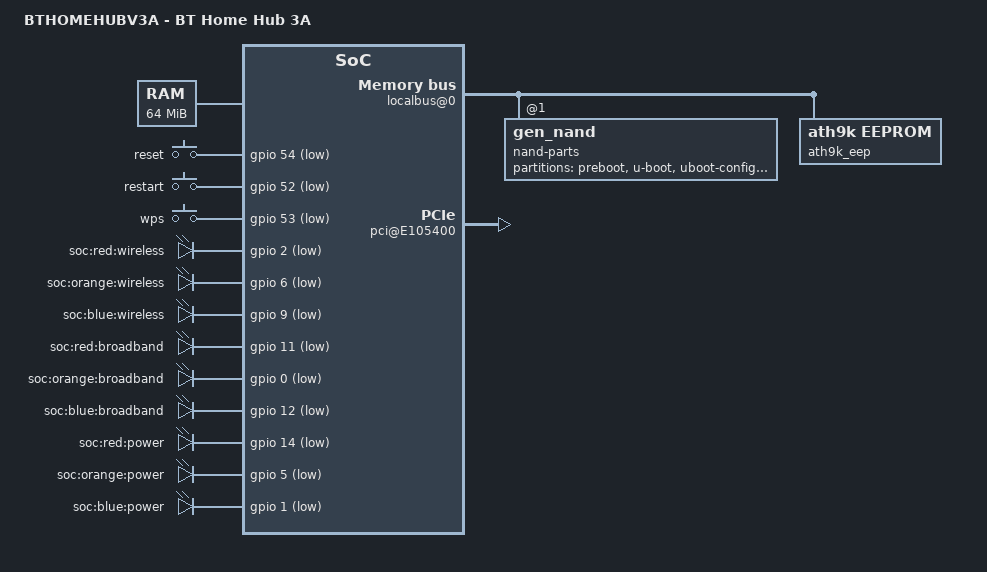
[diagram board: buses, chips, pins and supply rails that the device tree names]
/dts-v1/;

/include/ "ar9.dtsi"

/ {
	model = "BTHOMEHUBV3A - BT Home Hub 3A";  /* SoC: Lantiq ar9 @ 333MHz */

	chosen {
		bootargs = "console=ttyLTQ0,115200 init=/etc/preinit";
	};

	memory@0 {				  /* RAM: Samsung K4H511638F-LC 64MB */
		reg = <0x0 0x4000000>;
	};

	sram@1F000000 {
		vmmc@107000 {
			status = "okay";
			gpios = <&gpio 31 0>;
		};
	};

	fpi@10000000 {
		#address-cells = <1>;
		#size-cells = <1>;
		localbus@0 {
			#address-cells = <2>;
			#size-cells = <1>;
			ranges = <0 0 0x0 0x3ffffff /* addrsel0 */
				1 0 0x4000000 0x4000010>; /* addsel1 */
			compatible = "lantiq,localbus", "simple-bus";

			nand-parts@0 {		  /* NAND Flash: Samsung K9F5608U0D-JIB0 32MB */
				compatible = "gen_nand", "lantiq,nand-xway";
				lantiq,cs = <1>;
				bank-width = <2>;
				reg = <1 0x0 0x2000000 >;
				#address-cells = <1>;
				#size-cells = <1>;
				req-mask = <0x1>;  /* PCI request lines to mask during NAND access */

				partition@0 {
					label = "preboot";
					reg = <0x00000 0x8000>;
					read-only;
				};
				partition@8000 {
					label = "u-boot";
					reg = <0x8000 0x05c000>;
					read-only;
				};
				partition@64000 {
					label = "uboot-config";
					reg = <0x64000 0x004000>;
					read-only;
				};
				ath9k_cal: partition@68000 {
					label = "art-copy";
					reg = <0x68000 0x004000>;
					read-only;
				};
				partition@6c000 {
					label = "kernel";
					reg = <0x6c000 0x200000>;
				};
				partition@26c000 {
					label = "ubi";
					reg = <0x26c000 0x1d94000>;
				};
			};

			ath9k_eep {
				compatible = "ath9k,eeprom";
				ath,eep-flash = <&ath9k_cal 0x0000>;
				ath,mac-offset = <0x10c>;
				ath,pci-slot = <14>;
				ath,eep-endian;
			};
		};

		gpio: pinmux@E100B10 {
			compatible = "lantiq,pinctrl-xr9";
			pinctrl-names = "default";
			pinctrl-0 = <&state_default>;

			#gpio-cells = <2>;
			gpio-controller;
			reg = <0xE100B10 0xA0>;

			state_default: pinmux {
				nand_out {
					lantiq,groups = "nand cle", "nand ale";
					lantiq,function = "ebu";
					lantiq,output = <1>;
					lantiq,open-drain = <0>;
					lantiq,pull = <0>;
				};
				nand_cs1 {
					lantiq,groups = "nand cs1";
					lantiq,function = "ebu";
					lantiq,open-drain = <0>;
					lantiq,pull = <0>;
				};

				pci_in {
					lantiq,groups = "req1";
					lantiq,function = "pci";
					lantiq,output = <0>;
					lantiq,open-drain = <1>;
					lantiq,pull = <2>;
				};
				pci_out {
					lantiq,groups = "gnt1";
					lantiq,function = "pci";
					lantiq,output = <1>;
					lantiq,open-drain = <0>;
					lantiq,pull = <0>;
				};

				pci_rst {
					lantiq,pins = "io21";
					lantiq,output = <1>;
					lantiq,open-drain = <0>;
				};
			};
		};

		etop@E180000 {
			phy-mode = "rgmii";
		};

		ifxhcd@E101000 {
			status = "okay";
			gpios = <&gpio 33 0>;
		};

		pci@E105400 {
			status = "okay";
			gpio-reset = <&gpio 21 0>;
		};

	};

	gpio-keys-polled {
		compatible = "gpio-keys-polled";
		#address-cells = <1>;
		#size-cells = <0>;
		poll-interval = <100>;
		reset {
			label = "reset";
			gpios = <&gpio 54 1>;
			linux,code = <0x198>;
		};
		restart {
			label = "restart";
			gpios = <&gpio 52 1>;
			linux,code = <0x198>;
		};
		wps {
			label = "wps";
			gpios = <&gpio 53 1>;
			linux,code = <0x211>;
		};
	};

	gpio-leds {
		compatible = "gpio-leds";

		wireless-red {
			label = "soc:red:wireless";
			gpios = <&gpio 2 1>;
		};
		wireless-orange {
			label = "soc:orange:wireless";
			gpios = <&gpio 6 1>;
		};
		wireless-blue {
			label = "soc:blue:wireless";
			gpios = <&gpio 9 1>;
		};

		broadband-red {
			label = "soc:red:broadband";
			gpios = <&gpio 11 1>;
		};
		broadband-orange {
			label = "soc:orange:broadband";
			gpios = <&gpio 0 1>;
		};
		broadband-blue {
			label = "soc:blue:broadband";
			gpios = <&gpio 12 1>;
		};

		power-red {
			label = "soc:red:power";
			gpios = <&gpio 14 1>;
		};
		power-orange {
			label = "soc:orange:power";
			gpios = <&gpio 5 1>;
		};
		power-blue {
			label = "soc:blue:power";
			gpios = <&gpio 1 1>;
		};
	};

};

